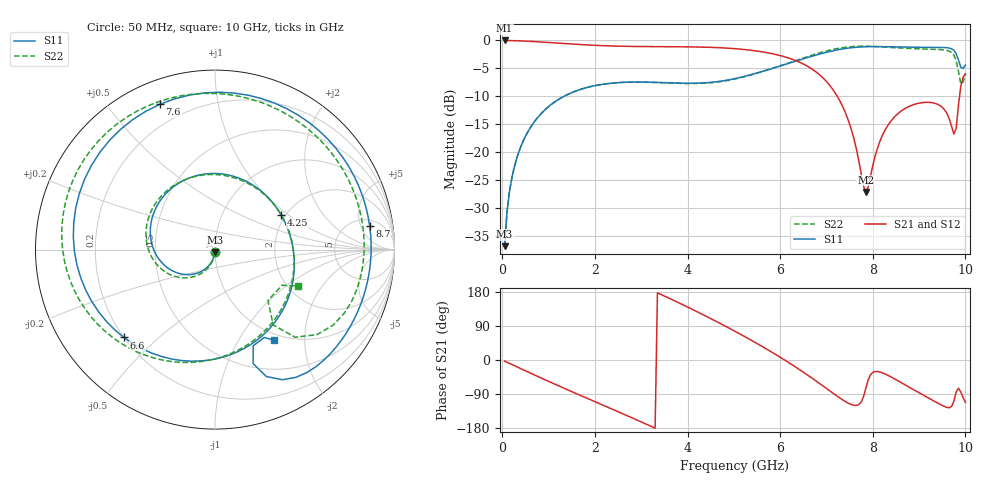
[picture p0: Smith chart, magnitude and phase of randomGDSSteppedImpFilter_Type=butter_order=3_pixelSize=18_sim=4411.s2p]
! freq	dB(S11)	phase(S11)	dB(S12)	phase(S12)
!  dB(S21)	phase(S21)	dB(S22)	phase(S22)
!S-par simulation data
#  GHz  S  DB  R 50
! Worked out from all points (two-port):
!   200 points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, 50 MHz to 10 GHz, reference 50 ohm
!   highest |S21| = -0.01 dB at 50 MHz (marker M1); lowest = -27.1 dB at 7.85 GHz (marker M2)
!   |S21| within 3 dB of the highest: start of sweep to 6.129 GHz
!   lowest |S11| = -36.8 dB at 50 MHz (marker M3), VSWR 1.03, Z = 49.9 - j1.45 ohm
!   |S11| at or under -10 dB: start of sweep to 1.329 GHz
!   |S22| runs from -36.8 to -1.0 dB; largest |S21 - S12| = 0
!   S11 on the Smith chart (normalised r, x): 50 MHz: 1.00, -0.03; 4.25 GHz: 1.89, +0.89; 6.6 GHz: 0.20, -0.39; 7.6 GHz: 0.11, +0.69; 8.7 GHz: 6.60, +7.23; 10 GHz: 0.90, -1.43
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0.05  -36.76 -92.8  -0.01 -2.9  -0.01 -2.9  -36.75 -92.4
0.2  -24.84 -102.5  -0.03 -11.5  -0.03 -11.5  -24.83 -100.9
0.5  -17.14 -121.0  -0.12 -28.6  -0.12 -28.6  -17.13 -117.1
1.15  -10.89 -159.8  -0.45 -64.6  -0.45 -64.6  -10.88 -150.8
1.75  -8.59 165.8  -0.77 -96.7  -0.77 -96.7  -8.59 179.4
2.65  -7.48 115.3  -1.05 -144.4  -1.05 -144.4  -7.48 134.7
3.4  -7.52 73.7  -1.11 174.5  -1.11 174.5  -7.55 94.4
4.25  -7.62 27.8  -1.18 124.8  -1.18 124.8  -7.69 41.5
5.05  -6.77 -16.3  -1.49 74.1  -1.49 74.1  -6.85 -15.4
5.85  -4.95 -69.7  -2.41 18.5  -2.41 18.5  -4.94 -73.6
6.25  -3.92 -102.7  -3.33 -11.9  -3.33 -11.9  -3.82 -102.5
6.6  -3.04 -136.0  -4.66 -40.4  -4.66 -40.4  -2.86 -128.3
6.7  -2.79 -146.3  -5.18 -48.9  -5.18 -48.9  -2.59 -135.9
7.15  -1.83 163.4  -8.91 -88.4  -8.91 -88.4  -1.58 -171.8
7.6  -1.25 110.7  -17.78 -119.8  -17.78 -119.8  -1.07 149.8
7.85  -1.12 83.1  -27.09 -74.4  -27.09 -74.4  -1.04 128.1
8.35  -1.13 35.7  -14.88 -41.8  -14.88 -41.8  -1.24 85.4
8.7  -1.19 8.7  -12.15 -65.6  -12.15 -65.6  -1.41 56.3
9.3  -1.24 -29.9  -11.15 -106.9  -11.15 -106.9  -1.58 7.1
9.75  -1.76 -62.7  -16.74 -109.6  -16.74 -109.6  -2.62 -39.8
9.9  -4.78 -68.4  -8.20 -84.2  -8.20 -84.2  -7.76 -43.9
10  -4.41 -56.9  -6.01 -112.1  -6.01 -112.1  -5.91 -23.7
